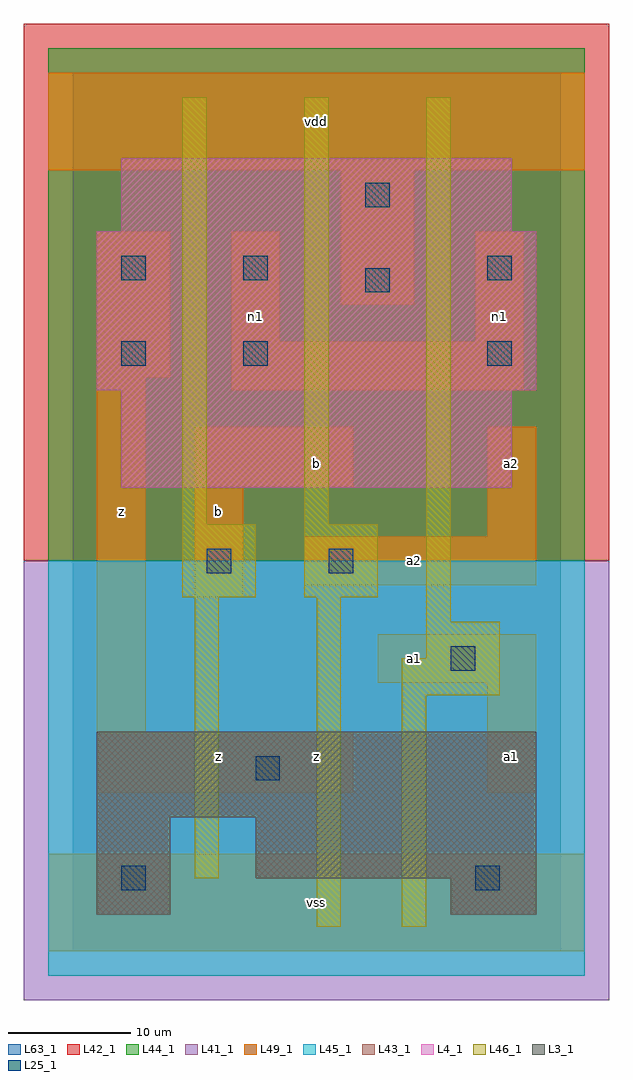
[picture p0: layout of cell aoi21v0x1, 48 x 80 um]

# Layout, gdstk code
import gdstk
lib = gdstk.Library(unit=1e-6, precision=1e-09)
def R(c, l, rs):  # rectangles x0, y0, x1, y1
    for r in rs: c.add(gdstk.rectangle(r[:2], r[2:], *l))
L3_1 = (3, 1)
L4_1 = (4, 1)
L25_1 = (25, 1)
L41_1 = (41, 1)
L42_1 = (42, 1)
L43_1 = (43, 1)
L44_1 = (44, 1)
L45_1 = (45, 1)
L46_1 = (46, 1)
L49_1 = (49, 1)
L63_1 = (63, 1)

aoi21v0x1 = lib.new_cell('aoi21v0x1')
R(aoi21v0x1, L3_1, [(2,3,8,11), (31,3,38,6), (15,6,38,11), (2,11,38,18)])
R(aoi21v0x1, L4_1, [(4,38,36,46), (2,46,38,59), (4,59,36,65)])
R(aoi21v0x1, L25_1, [(4,5,6,7), (33,5,35,7), (15,14,17,16), (31,23,33,25), (11,31,13,33), (21,31,23,33), (4,48,6,50), (14,48,16,50), (34,48,36,50), (24,54,26,56), (4,55,6,57), (14,55,16,57), (34,55,36,57), (24,61,26,63)])
R(aoi21v0x1, L41_1, [(-4,-4,44,32)])
R(aoi21v0x1, L42_1, [(-4,32,44,76)])
R(aoi21v0x1, L43_1, [(2,3,8,11), (31,3,38,6), (15,6,38,11), (2,11,38,18), (4,38,36,46), (2,46,38,59), (4,59,36,65)])
R(aoi21v0x1, L44_1, [(-2,32,42,74)])
R(aoi21v0x1, L45_1, [(-2,-2,42,32)])
R(aoi21v0x1, L46_1, [(20,2,22,29), (27,2,29,21), (10,6,12,29), (27,21,35,24), (29,24,35,27), (29,27,31,70), (9,29,15,35), (19,29,25,35), (9,35,11,70), (19,35,21,70)])
R(aoi21v0x1, L49_1, [(-2,0,42,8), (2,13,23,18), (34,13,38,22), (2,18,6,47), (25,22,38,26), (10,29,14,38), (19,30,38,34), (34,34,38,43), (10,38,23,43), (13,46,37,50), (2,47,8,59), (13,50,17,59), (33,50,37,59), (22,53,28,64), (-2,64,42,72)])
R(aoi21v0x1, L63_1, [(0,0,40,72)])
aoi21v0x1.add(gdstk.Label('z', (4,36), layer=49, texttype=1))
aoi21v0x1.add(gdstk.Label('z', (12,16), layer=49, texttype=1))
aoi21v0x1.add(gdstk.Label('b', (12,36), layer=49, texttype=1))
aoi21v0x1.add(gdstk.Label('n1', (15,52), layer=49, texttype=1))
aoi21v0x1.add(gdstk.Label('vss', (20,4), layer=49, texttype=1))
aoi21v0x1.add(gdstk.Label('z', (20,16), layer=49, texttype=1))
aoi21v0x1.add(gdstk.Label('a2', (28,32), layer=49, texttype=1))
aoi21v0x1.add(gdstk.Label('a1', (28,24), layer=49, texttype=1))
aoi21v0x1.add(gdstk.Label('b', (20,40), layer=49, texttype=1))
aoi21v0x1.add(gdstk.Label('vdd', (20,68), layer=49, texttype=1))
aoi21v0x1.add(gdstk.Label('a1', (36,16), layer=49, texttype=1))
aoi21v0x1.add(gdstk.Label('a2', (36,40), layer=49, texttype=1))
aoi21v0x1.add(gdstk.Label('n1', (35,52), layer=49, texttype=1))

lib.write_gds('aoi21v0x1.gds')
